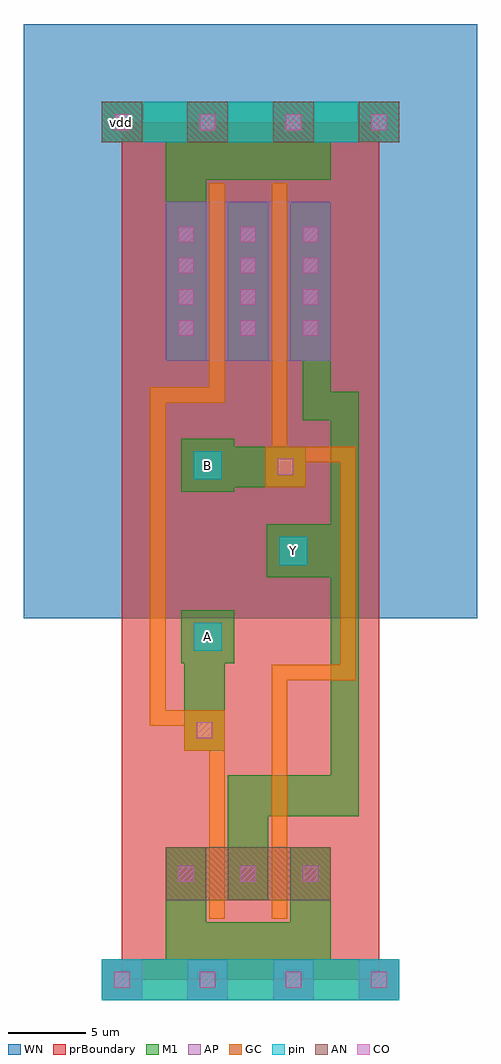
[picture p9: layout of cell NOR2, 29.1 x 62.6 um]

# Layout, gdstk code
import gdstk
lib = gdstk.Library(unit=1e-6, precision=1e-09)
def R(c, l, rs):  # rectangles x0, y0, x1, y1
    for r in rs: c.add(gdstk.rectangle(r[:2], r[2:], *l))
def A(c, l, x, y, w, h, nx, ny, dx, dy):  # array of equal rectangles
    R(c, l, [(x+i*dx, y+j*dy, x+i*dx+w, y+j*dy+h) for i in range(nx) for j in range(ny)])
def P(c, l, *ps):  # polygons
    for p in ps: c.add(gdstk.Polygon(p, *l))
AP = (3, 1)
AN = (3, 2)
GC = (8, 1)
CO = (11, 0)
M1 = (13, 0)
pin = (48, 1)
WN = (140, 0)
prBoundary = (235, 0)

nor2 = lib.new_cell('NOR2')
A(nor2, AP, -1.3, -1.3, 2.6, 2.6, 4, 1, 5.5, 0)
R(nor2, AP, [(2.8,39.7,13.4,49.9), (2.8,39.7,13.4,49.9)])
A(nor2, AN, -1.3, 53.7, 2.6, 2.6, 4, 1, 5.5, 0)
R(nor2, AN, [(2.8,5.1,13.4,8.5)])
P(nor2, GC, [(5.6,3.9),(5.6,14.7),(4,14.7),(4,16.3),(1.8,16.3),(1.8,38),(5.6,38),(5.6,51.1),(6.6,51.1),(6.6,37),(2.8,37),(2.8,17.3),(6.6,17.3),(6.6,3.9)],
  [(9.6,3.9),(9.6,20.2),(14,20.2),(14,33.2),(11.8,33.2),(11.8,31.6),(9.2,31.6),(9.2,34.2),(9.6,34.2),(9.6,51.1),(10.6,51.1),(10.6,34.2),(15,34.2),(15,19.2),(10.6,19.2),(10.6,3.9)])
A(nor2, CO, -0.5, -0.5, 1, 1, 4, 2, 5.5, 55)
A(nor2, CO, 11.6, 41.3, 1, 1, 1, 4, 0, 2)
R(nor2, CO, [(3.6,6.3,4.6,7.3), (7.6,6.3,8.6,7.3), (7.6,6.3,8.6,7.3), (11.6,6.3,12.6,7.3), (4.8,15.5,5.8,16.5), (10,32.4,11,33.4), (3.6,41.3,4.6,42.3), (3.6,41.3,4.6,42.3), (3.6,41.3,4.6,42.3), (7.6,41.3,8.6,42.3), (7.6,41.3,8.6,42.3), (7.6,41.3,8.6,42.3), (7.6,41.3,8.6,42.3), (3.6,43.3,4.6,44.3), (3.6,43.3,4.6,44.3), (3.6,43.3,4.6,44.3), (7.6,43.3,8.6,44.3), (7.6,43.3,8.6,44.3), (7.6,43.3,8.6,44.3), (7.6,43.3,8.6,44.3), (3.6,45.3,4.6,46.3), (3.6,45.3,4.6,46.3), (3.6,45.3,4.6,46.3), (7.6,45.3,8.6,46.3), (7.6,45.3,8.6,46.3), (7.6,45.3,8.6,46.3), (7.6,45.3,8.6,46.3), (3.6,47.3,4.6,48.3), (3.6,47.3,4.6,48.3), (3.6,47.3,4.6,48.3), (7.6,47.3,8.6,48.3), (7.6,47.3,8.6,48.3), (7.6,47.3,8.6,48.3), (7.6,47.3,8.6,48.3)])
R(nor2, M1, [(6.8,39.7,9.4,49.9)])
P(nor2, M1, [(-1.3,-1.3),(-1.3,1.3),(2.8,1.3),(2.8,8.5),(5.4,8.5),(5.4,3.7),(10.8,3.7),(10.8,8.5),(13.4,8.5),(13.4,1.3),(17.8,1.3),(17.8,-1.3)],
  [(4,14.7),(4,20.3),(3.8,20.3),(3.8,23.7),(7.2,23.7),(7.2,20.3),(6.6,20.3),(6.6,14.7)],
  [(3.8,31.3),(3.8,34.7),(7.2,34.7),(7.2,34.2),(11.8,34.2),(11.8,31.6),(7.2,31.6),(7.2,31.3)],
  [(6.8,5.1),(6.8,13.1),(13.4,13.1),(13.4,25.8),(9.3,25.8),(9.3,29.2),(13.4,29.2),(13.4,35.9),(11.6,35.9),(11.6,39.7),(10.8,39.7),(10.8,49.9),(13.4,49.9),(13.4,37.7),(15.2,37.7),(15.2,10.5),(9.4,10.5),(9.4,5.1)],
  [(2.8,39.7),(2.8,53.7),(-1.3,53.7),(-1.3,56.3),(17.8,56.3),(17.8,53.7),(13.4,53.7),(13.4,51.3),(5.4,51.3),(5.4,39.7)])
R(nor2, pin, [(-1.3,-1.3,17.8,1.3), (4.6,21.1,6.4,22.9), (10.1,26.6,11.9,28.4), (4.6,32.1,6.4,33.9), (-1.3,53.7,17.8,56.3)])
R(nor2, WN, [(-6.3,23.2,22.8,61.3)])
R(nor2, prBoundary, [(0,0,16.5,55)])
nor2.add(gdstk.Label('A', (5.5,22), layer=48, texttype=0))
nor2.add(gdstk.Label('B', (5.5,33), layer=48, texttype=0))
nor2.add(gdstk.Label('Y', (11,27.5), layer=48, texttype=0))
nor2.add(gdstk.Label('vdd', (0,55), layer=48, texttype=0))

lib.write_gds('NOR2.gds')
